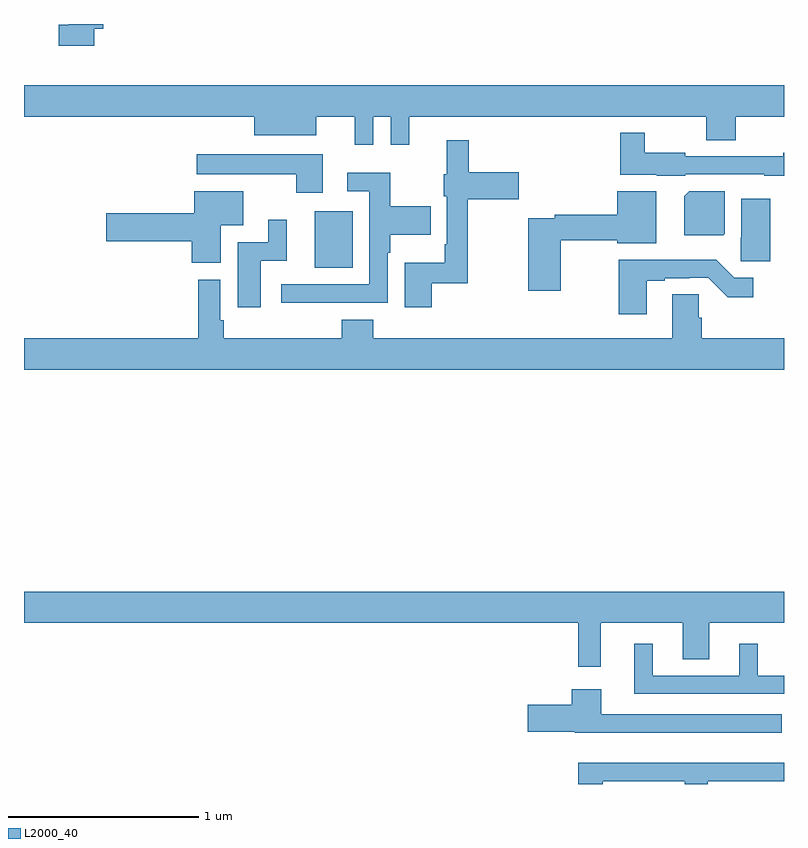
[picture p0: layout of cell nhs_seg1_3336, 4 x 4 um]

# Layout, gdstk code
import gdstk
lib = gdstk.Library(unit=1e-6, precision=1e-09)
def R(c, l, rs):  # rectangles x0, y0, x1, y1
    for r in rs: c.add(gdstk.rectangle(r[:2], r[2:], *l))
def P(c, l, *ps):  # polygons
    for p in ps: c.add(gdstk.Polygon(p, *l))
L2000_40 = (2000, 40)

nhs_seg1_3336 = lib.new_cell('nhs_seg1_3336')
R(nhs_seg1_3336, L2000_40, [(292.529,570.917,292.729,571.213)])
P(nhs_seg1_3336, L2000_40, [(291.371,572.174),(291.418,572.174),(291.418,572.199),(291.236,572.199),(291.236,572.194),(291.183,572.194),(291.183,572.084),(291.371,572.084)],
  [(291,571.712),(292.211,571.712),(292.211,571.613),(292.537,571.613),(292.537,571.712),(292.742,571.712),(292.742,571.563),(292.839,571.563),(292.839,571.712),(292.929,571.712),(292.929,571.563),(293.027,571.563),(293.027,571.712),(294.592,571.712),(294.592,571.588),(294.747,571.588),(294.747,571.712),(295,571.712),(295,571.876),(291,571.876)],
  [(294.48,571.407),(294.897,571.407),(294.897,571.4),(295,571.4),(295,571.521),(294.996,571.521),(294.996,571.503),(294.48,571.503),(294.48,571.522),(294.268,571.522),(294.268,571.627),(294.139,571.627),(294.139,571.406),(294.33,571.406),(294.33,571.4),(294.48,571.4)],
  [(293.147,570.834),(293.335,570.834),(293.335,571.277),(293.605,571.277),(293.605,571.419),(293.342,571.419),(293.342,571.588),(293.225,571.588),(293.225,571.407),(293.209,571.407),(293.209,571.293),(293.226,571.293),(293.226,571.039),(293.214,571.039),(293.214,570.943),(293.003,570.943),(293.003,570.708),(293.147,570.708)],
  [(292.573,571.513),(291.909,571.513),(291.909,571.409),(292.433,571.409),(292.433,571.311),(292.573,571.311)],
  [(292.589,570.732),(292.914,570.732),(292.914,570.995),(292.927,570.995),(292.927,571.091),(293.141,571.091),(293.141,571.239),(292.927,571.239),(292.927,571.417),(292.701,571.417),(292.701,571.32),(292.818,571.32),(292.818,570.828),(292.353,570.828),(292.353,570.731),(292.589,570.731)],
  [(292.036,571.139),(292.153,571.139),(292.153,571.318),(291.896,571.318),(291.896,571.202),(291.432,571.202),(291.432,571.055),(291.884,571.055),(291.884,570.942),(292.036,570.942)],
  [(293.826,571.06),(294.122,571.06),(294.122,571.046),(294.328,571.046),(294.328,571.318),(294.122,571.318),(294.122,571.196),(293.794,571.196),(293.794,571.176),(293.653,571.176),(293.653,570.795),(293.826,570.795)],
  [(294.688,571.096),(294.688,571.318),(294.502,571.318),(294.476,571.292),(294.476,571.088),(294.68,571.088)],
  [(294.928,571.279),(294.776,571.279),(294.776,571.074),(294.772,571.074),(294.772,570.951),(294.928,570.951)],
  [(292.246,570.954),(292.384,570.954),(292.384,571.168),(292.286,571.168),(292.286,571.05),(292.124,571.05),(292.124,570.708),(292.246,570.708)],
  [(294.277,570.849),(294.373,570.849),(294.373,570.861),(294.5,570.861),(294.5,570.864),(294.6,570.864),(294.703,570.762),(294.838,570.762),(294.838,570.864),(294.738,570.864),(294.643,570.959),(294.13,570.959),(294.13,570.672),(294.277,570.672)],
  [(295,570.544),(294.566,570.544),(294.566,570.654),(294.552,570.654),(294.552,570.776),(294.413,570.776),(294.413,570.544),(292.838,570.544),(292.838,570.643),(292.673,570.643),(292.673,570.544),(292.052,570.544),(292.052,570.64),(292.032,570.64),(292.032,570.853),(291.916,570.853),(291.916,570.544),(291,570.544),(291,570.38),(295,570.38)],
  [(294.035,569.048),(294.467,569.048),(294.467,568.855),(294.607,568.855),(294.607,569.048),(295,569.048),(295,569.212),(291,569.212),(291,569.048),(293.917,569.048),(293.917,568.815),(294.035,568.815)],
  [(295,568.77),(294.862,568.77),(294.862,568.936),(294.764,568.936),(294.764,568.77),(294.31,568.77),(294.31,568.936),(294.212,568.936),(294.212,568.674),(295,568.674)],
  [(294.988,568.566),(294.037,568.566),(294.037,568.699),(293.882,568.699),(293.882,568.617),(293.652,568.617),(293.652,568.475),(293.898,568.475),(293.898,568.469),(294.988,568.469)],
  [(294.046,568.214),(294.477,568.214),(294.477,568.199),(294.598,568.199),(294.598,568.214),(295,568.214),(295,568.312),(293.917,568.312),(293.917,568.199),(294.046,568.199)])

lib.write_gds('nhs_seg1_3336.gds')
